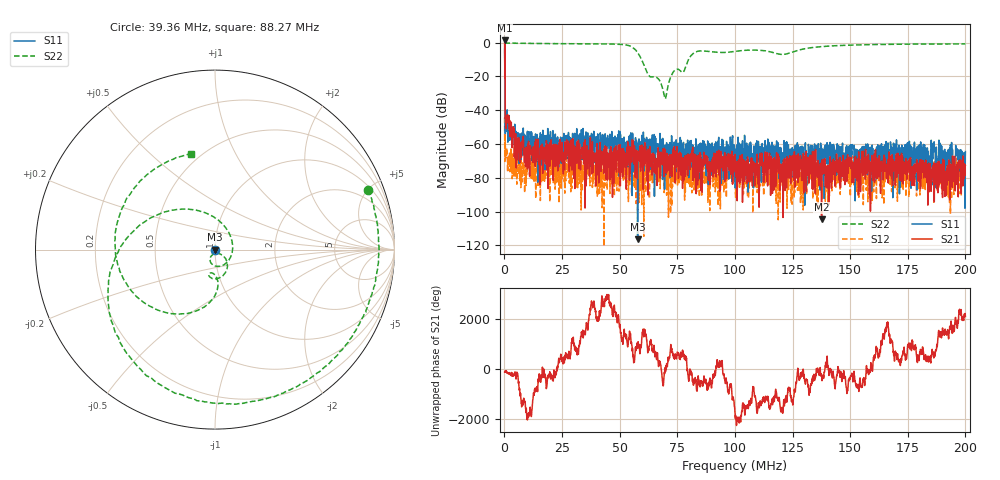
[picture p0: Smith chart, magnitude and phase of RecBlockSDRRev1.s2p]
! 19-Feb-26 2:13:26 PM
! E:\VNA_MEASUREMENTS\RECBLOCK\RECBLOCKSDRREV1.S2P
! CHANNEL.1
! TR.MEASUREMENT
! CORRECTED.DATA
# GHZ S RI R 50.0
! FREQ.GHZ  S11RE  S11IM  S21RE  S21IM  S12RE  S12IM  S22RE  S22IM
!; PortSelection: Port_12
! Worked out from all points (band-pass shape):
!   2000 points, 50 kHz to 200 MHz, reference 50 ohm
!   highest |S21| = 1.27 dB at 50 kHz (marker M1); lowest = -104.6 dB at 137.6 MHz (marker M2)
!   |S21| within 3 dB of the highest: start of sweep to 63.52 kHz; 238.2 kHz to 255.7 kHz (17.43 kHz wide, 7.06 % of centre)
!   lowest |S11| = -116.5 dB at 57.76 MHz (marker M3), VSWR 1.00, Z = 50 - j0.00015 ohm
!   |S11| at or under -10 dB: 108.9 kHz to 184.8 kHz (75.91 kHz wide, 51.7 % of centre); 265.2 kHz to end of sweep
!   |S22| runs from -33.3 to -0.2 dB; largest |S21 - S12| = 1.2
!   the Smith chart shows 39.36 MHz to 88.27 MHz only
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5e-05  0.0853 0.6254  -0.7073 -0.9157  0.00583 -0.0014  -0.965 -0.0231
0.001350325  -0.00391 -0.0012  -0.00681 -0.00282  -0.000109 9.88e-05  -0.9606 0.0782
0.005551376  -0.00198 -3.06e-05  -0.000299 0.000148  0.000106 1.53e-05  -0.8978 0.3123
0.03345835  -0.000168 0.00054  0.000546 -2.05e-05  1.05e-05 0.000131  0.5509 0.7382
0.04396098  0.000647 0.000559  0.000138 -0.00022  -0.000167 -0.00015  0.9003 -0.1406
0.05136283  -0.000909 -0.000279  -7.14e-05 -0.000338  -0.000197 0.000157  0.21 -0.8453
0.05776443  0 -1.5e-06  -2.08e-05 0.000485  -6.1e-06 8.7e-06  -0.5054 0.0454
0.06676668  -0.000326 0.0009  -0.00029 -0.000187  -0.000159 -0.000101  -0.0147 -0.083
0.06986746  -0.00031 -0.000491  -6.1e-05 -0.000139  -0.000106 3.25e-05  0.00671 -0.0211
0.08127031  -0.000114 -0.000777  -0.000432 -8.5e-06  -5.1e-06 3.55e-05  -0.2532 -0.3562
0.08917229  5.27e-05 6.34e-05  0.000123 -2.32e-05  2.15e-05 0.000189  0.0137 0.5402
0.09437359  -0.000125 -0.00137  0.000239 -0.000136  -8.32e-05 0.000122  0.5076 -0.045
0.100075  -0.000701 -5.87e-05  0.00015 -0.000115  4.37e-05 7.41e-05  -0.1311 -0.5323
0.1051763  0.000693 0.000351  0.000242 -0.000204  -4.78e-05 1.62e-05  -0.596 0.00699
0.1103776  0.000685 0.000486  0.000152 0.000143  -0.000196 0.000175  -0.1643 0.5691
0.116079  -0.00103 -0.00044  -6.5e-05 -9.61e-05  -7.27e-05 -9.58e-05  0.5055 0.1118
0.1207802  -0.000522 -0.00017  0.000196 0.00018  -0.000103 0.000106  -0.0249 -0.4451
0.1257814  -0.000204 0.00054  -5.66e-05 -0.000586  -3.54e-05 -0.000127  -0.5258 0.1543
0.1333833  -0.000619 -6.83e-05  -0.000322 0.000288  -0.000199 -0.000178  0.1793 0.6866
0.1375844  0.000438 -0.000221  -3.1e-06 5e-06  1.52e-05 9.27e-05  0.5464 0.5281
0.1666917  0.000495 -6.27e-05  -3.19e-05 0.000113  -5.53e-05 -0.000139  0.2538 -0.8463
0.2  -2.69e-05 0.000593  9.59e-05 -0.000214  0.000101 -1.22e-05  -0.6966 -0.5923
